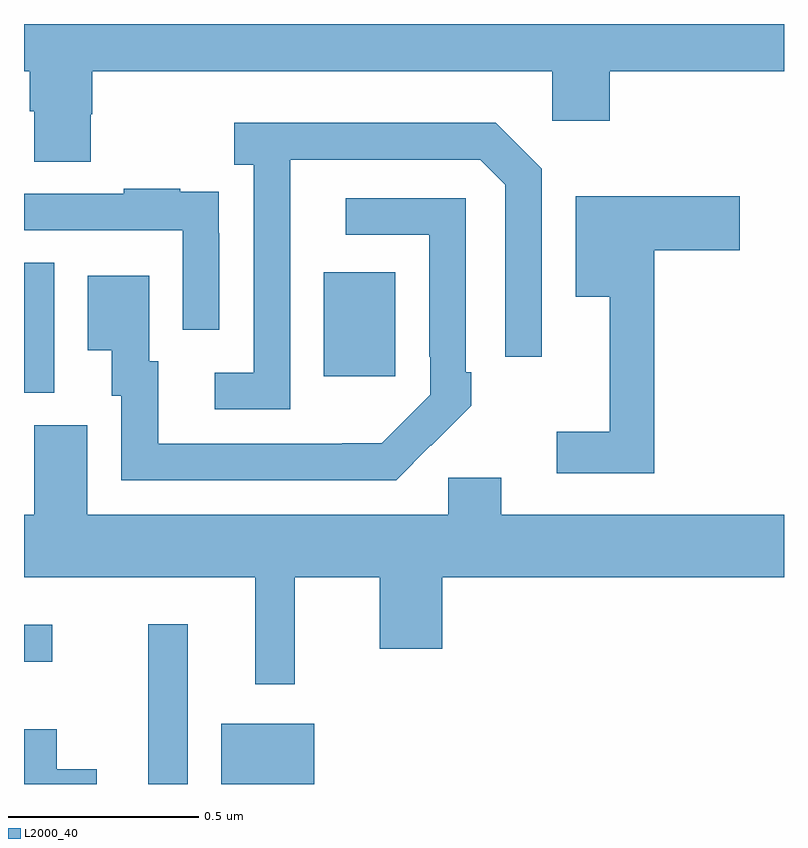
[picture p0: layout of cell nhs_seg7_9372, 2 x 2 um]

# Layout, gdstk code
import gdstk
lib = gdstk.Library(unit=1e-6, precision=1e-09)
def R(c, l, rs):  # rectangles x0, y0, x1, y1
    for r in rs: c.add(gdstk.rectangle(r[:2], r[2:], *l))
def P(c, l, *ps):  # polygons
    for p in ps: c.add(gdstk.Polygon(p, *l))
L2000_40 = (2000, 40)

nhs_seg7_9372 = lib.new_cell('nhs_seg7_9372')
R(nhs_seg7_9372, L2000_40, [(236.327,1072,236.431,1072.42), (236.519,1072,236.764,1072.159), (236,1072.322,236.074,1072.419), (236,1073.029,236.08,1073.372), (236.789,1073.073,236.977,1073.347)])
P(nhs_seg7_9372, L2000_40, [(236.175,1073.763),(236.18,1073.763),(236.18,1073.876),(237.39,1073.876),(237.39,1073.745),(237.542,1073.745),(237.542,1073.876),(238,1073.876),(238,1074),(236,1074),(236,1073.876),(236.015,1073.876),(236.015,1073.77),(236.027,1073.77),(236.027,1073.638),(236.175,1073.638)],
  [(236.7,1073.443),(236.701,1073.443),(236.701,1073.643),(237.201,1073.643),(237.267,1073.577),(237.267,1073.124),(237.363,1073.124),(237.363,1073.619),(237.242,1073.74),(236.553,1073.74),(236.553,1073.63),(236.604,1073.63),(236.604,1073.082),(236.502,1073.082),(236.502,1072.986),(236.7,1072.986)],
  [(236.514,1073.45),(236.513,1073.45),(236.513,1073.559),(236.411,1073.559),(236.411,1073.566),(236.263,1073.566),(236.263,1073.553),(236,1073.553),(236,1073.457),(236.418,1073.457),(236.418,1073.196),(236.514,1073.196)],
  [(237.659,1073.405),(237.883,1073.405),(237.883,1073.547),(237.452,1073.547),(237.452,1073.282),(237.542,1073.282),(237.542,1072.927),(237.402,1072.927),(237.402,1072.818),(237.659,1072.818)],
  [(237.071,1072.891),(237.072,1072.89),(237.177,1072.995),(237.177,1073.083),(237.162,1073.083),(237.162,1073.541),(236.847,1073.541),(236.847,1073.445),(237.066,1073.445),(237.066,1073.125),(237.069,1073.125),(237.069,1073.025),(236.941,1072.897),(236.837,1072.897),(236.837,1072.896),(236.353,1072.896),(236.353,1073.112),(236.329,1073.112),(236.329,1073.338),(236.168,1073.338),(236.168,1073.141),(236.231,1073.141),(236.231,1073.022),(236.256,1073.022),(236.256,1072.8),(236.98,1072.8)],
  [(236.713,1072.544),(236.936,1072.544),(236.936,1072.356),(237.1,1072.356),(237.1,1072.544),(238,1072.544),(238,1072.708),(237.256,1072.708),(237.256,1072.806),(237.117,1072.806),(237.117,1072.708),(236.167,1072.708),(236.167,1072.944),(236.027,1072.944),(236.027,1072.708),(236,1072.708),(236,1072.544),(236.609,1072.544),(236.609,1072.263),(236.713,1072.263)],
  [(236.191,1072.039),(236.086,1072.039),(236.086,1072.144),(236,1072.144),(236,1072),(236.191,1072)])

lib.write_gds('nhs_seg7_9372.gds')
